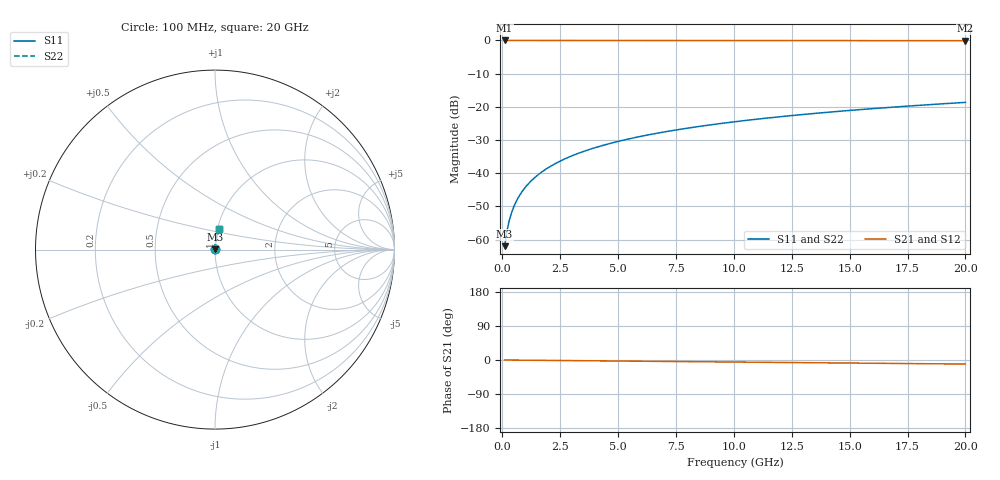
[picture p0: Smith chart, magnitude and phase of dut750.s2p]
! Touchstone file exported from HFSS 2026.1.0
!  File:  C:/ffzhzh/LocalFiles/Ansys_Project_Files/temp_train_TSV_750_1783182995_43440.aedt
!  Generated:  12:38:48 AM Jul  5, 2026
!  Design:  TSV
!  Project:  temp_train_TSV_750_1783182995_43440
! Variables:
!  h_bsmrdl = 2um
!  h_ox = 20um
!  h_rdl = 5um
!  h_sub = 76.81um
!  h_tmrdl = 5um
!  h_tsv = 76.81um
!  h_via = 3um
!  l_bsmrdl = 300um
!  l_sub = 408.7um
!  l_tmrdl = 200um
!  m_sub = 200um
!  pitch = 57.29um
!  r_tsv = 4.35um
!  s_tmrdl = 10um
!  w_bsmrdl = 18um
!  w_sub = 500um
!  w_tmrdl = 12um
!  x_tsv_center1 = 206um
!  x_tsv_center2 = 524um
!  x_tsv_center3 = 736um
!  x_tsv_center4 = 1054um
!  x_tsv_center5 = 1266um
!  x_tsv_center6 = 1584um
# GHz S MA R 50.000000
! Terminal data exported
! Port[1] = TSV1_1_T1
! Port[2] = TSV1_1_T2
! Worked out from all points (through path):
!   200 points, 100 MHz to 20 GHz, reference 50 ohm
!   highest |S21| = 0.00 dB at 100 MHz (marker M1); lowest = -0.1 dB at 20 GHz (marker M2)
!   group delay of S21, straight-line fit = 1.48 ps
!   lowest |S11| = -62.0 dB at 100 MHz (marker M3), VSWR 1.00, Z = 50 + j0.0627 ohm
!   |S11| at or under -10 dB: start of sweep to end of sweep
!   |S22| runs from -62.0 to -18.7 dB; largest |S21 - S12| = 4e-15
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0.1  0.0007982 51.7  0.9995 -0.1  0.9995 -0.1  0.0007982 51.7
! Gamma 0 0 0 0
! Port Impedance 50 0 50 0
0.2  0.001349 68.0  0.9995 -0.1  0.9995 -0.1  0.001349 68.0
0.3  0.001941 74.5  0.9995 -0.2  0.9995 -0.2  0.001941 74.5
0.4  0.002543 77.8  0.9995 -0.2  0.9995 -0.2  0.002543 77.8
0.5  0.003147 79.9  0.9995 -0.3  0.9995 -0.3  0.003147 79.9
0.7  0.004358 82.2  0.9994 -0.4  0.9994 -0.4  0.004358 82.2
0.8  0.004964 83.0  0.9994 -0.4  0.9994 -0.4  0.004964 83.0
1  0.006176 84.0  0.9994 -0.6  0.9994 -0.6  0.006176 84.0
1.2  0.007389 84.6  0.9994 -0.7  0.9994 -0.7  0.007389 84.6
1.4  0.008602 85.0  0.9993 -0.8  0.9993 -0.8  0.008602 85.0
1.7  0.01042 85.4  0.9993 -0.9  0.9993 -0.9  0.01042 85.4
2  0.01224 85.6  0.9992 -1.1  0.9992 -1.1  0.01224 85.6
2.7  0.01646 85.8  0.9991 -1.5  0.9991 -1.5  0.01646 85.8
3.5  0.02125 85.6  0.9989 -1.9  0.9989 -1.9  0.02125 85.6
4.2  0.02542 85.4  0.9987 -2.3  0.9987 -2.3  0.02542 85.4
5  0.03017 85.2  0.9984 -2.7  0.9984 -2.7  0.03017 85.2
6.8  0.04076 84.4  0.9978 -3.7  0.9978 -3.7  0.04076 84.4
8.3  0.04954 83.8  0.9973 -4.5  0.9973 -4.5  0.04954 83.8
10.1  0.06002 83.0  0.9965 -5.5  0.9965 -5.5  0.06002 83.0
13.4  0.07912 81.4  0.995 -7.2  0.995 -7.2  0.07912 81.4
16.7  0.09805 79.8  0.9931 -9.0  0.9931 -9.0  0.09805 79.8
20  0.1168 78.2  0.9909 -10.7  0.9909 -10.7  0.1168 78.2
